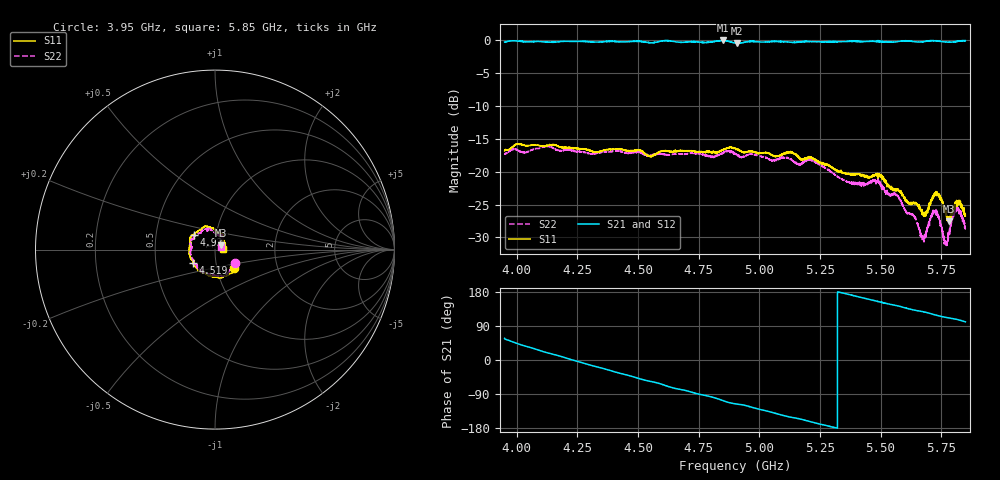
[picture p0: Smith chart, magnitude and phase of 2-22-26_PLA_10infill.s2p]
# GHZ S RI R 50.000000000000
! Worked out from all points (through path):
!   4501 points, 3.95 GHz to 5.85 GHz, reference 50 ohm
!   highest |S21| = 0.00 dB at 4.85 GHz (marker M1); lowest = -0.5 dB at 4.909 GHz (marker M2)
!   group delay of S21, straight-line fit = 452 ps
!   lowest |S11| = -27.5 dB at 5.781 GHz (marker M3), VSWR 1.09, Z = 53.5 + j2.56 ohm
!   |S11| at or under -10 dB: start of sweep to end of sweep
!   |S22| runs from -31.3 to -16.1 dB; largest |S21 - S12| = 0.053
!   S11 on the Smith chart (normalised r, x): 3.95 GHz: 1.20, -0.25; 4.519 GHz: 0.78, -0.12; 4.92 GHz: 0.78, +0.13; 5.85 GHz: 1.10, +0.01
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3.95  0.1033 -0.1012  0.5291 0.8158  0.5682 0.7807  0.1128 -0.0772
4.092289  0.0563 -0.1484  0.8844 0.4259  0.8882 0.4219  0.0656 -0.1357
4.267089  -0.0283 -0.1466  0.9772 -0.1156  0.9785 -0.1159  -0.00626 -0.1419
4.519156  -0.1215 -0.0732  0.608 -0.7684  0.6061 -0.7767  -0.0989 -0.0954
4.583756  -0.127 -0.0593  0.4705 -0.8574  0.464 -0.8515  -0.113 -0.0768
4.714644  -0.1447 -0.00214  0.1074 -0.972  0.1001 -0.9783  -0.1363 -0.0233
4.849756  -0.1392 0.0481  -0.2885 -0.9577  -0.282 -0.9624  -0.1345 0.0288
4.9  -0.129 0.0792  -0.4125 -0.8645  -0.4222 -0.8665  -0.1233 0.0622
4.909289  -0.1235 0.0803  -0.4209 -0.8506  -0.4343 -0.857  -0.1186 0.0638
4.919844  -0.1175 0.0825  -0.4358 -0.8502  -0.4472 -0.8476  -0.1141 0.0634
5.080289  -0.0759 0.1086  -0.7848 -0.5894  -0.7885 -0.5902  -0.0754 0.1004
5.217089  -0.0295 0.1248  -0.9417 -0.2718  -0.9434 -0.2722  -0.0294 0.1174
5.381333  0.0118 0.0941  -0.9742 0.1517  -0.9715 0.1556  0.0134 0.0803
5.480556  0.0321 0.0882  -0.8998 0.4024  -0.9006 0.4079  0.0389 0.0765
5.533756  0.0411 0.0651  -0.8263 0.5195  -0.8273 0.5283  0.0311 0.0609
5.636778  0.038 0.0435  -0.656 0.729  -0.6643 0.7253  0.0283 0.0364
5.673089  0.0326 0.0356  -0.5978 0.7729  -0.5979 0.7745  0.0232 0.022
5.723333  0.0464 0.0486  -0.4857 0.8679  -0.4814 0.8705  0.0441 0.022
5.765978  0.0456 0.0196  -0.3796 0.8989  -0.3721 0.8963  0.0268 0.00914
5.780756  0.0346 0.0239  -0.3496 0.9056  -0.341 0.8995  0.0248 0.0204
5.813689  0.0505 0.0281  -0.2905 0.9375  -0.2912 0.9336  0.0422 0.0286
5.85  0.0458 0.0048  -0.1853 0.9786  -0.1871 0.9849  0.0336 0.0159
